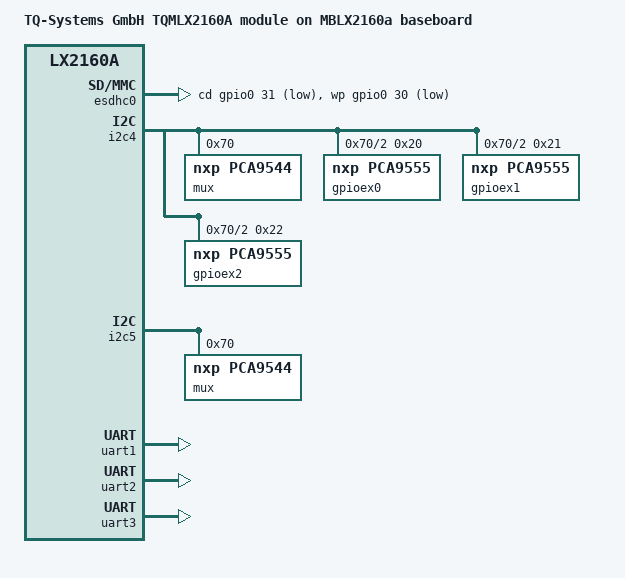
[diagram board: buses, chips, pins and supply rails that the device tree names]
// SPDX-License-Identifier: GPL-2.0-or-later OR MIT
/*
 * TQ MBLX2160A device tree source
 *
 * Copyright (c) 2020-2023 TQ-Systems GmbH <u-boot@ew.tq-group.com>,
 * D-82229 Seefeld, Germany.
 * Author: Gregor Herburger
 */

/dts-v1/;

#include <dt-bindings/gpio/gpio.h>

#include "fsl-lx2160a-tqmlx2160a.dtsi"

/ {
	model = "TQ-Systems GmbH TQMLX2160A module on MBLX2160a baseboard";
	compatible = "tq,mblx2160a", "tq,tqmlx2160a", "fsl,lx2160a";
};

&esdhc0 {
	wp-gpios = <&gpio0 30 GPIO_ACTIVE_LOW>;
	cd-gpios = <&gpio0 31 GPIO_ACTIVE_LOW>;
	status = "okay";
};

&i2c4 {
	status = "okay";

	mux@70 {
		compatible = "nxp,pca9544";
		reg = <0x70>;
		#address-cells = <1>;
		#size-cells = <0>;

		i2c@0 {
			#address-cells = <1>;
			#size-cells = <0>;
			reg = <0>;
		};

		i2c@1 {
			#address-cells = <1>;
			#size-cells = <0>;
			reg = <1>;
		};

		i2c@2 {
			#address-cells = <1>;
			#size-cells = <0>;
			reg = <2>;

			gpioex0: gpio@20 {
				compatible = "nxp,pca9555";
				reg = <0x20>;
				#gpio-cells = <2>;
				gpio-controller;
			};

			gpioex1: gpio@21 {
				compatible = "nxp,pca9555";
				reg = <0x21>;
				#gpio-cells = <2>;
				gpio-controller;
			};

			gpioex2: gpio@22 {
				compatible = "nxp,pca9555";
				reg = <0x22>;
				#gpio-cells = <2>;
				gpio-controller;
			};
		};

		i2c@3 {
			#address-cells = <1>;
			#size-cells = <0>;
			reg = <3>;
		};
	};
};

&i2c5 {
	status = "okay";

	mux@70 {
		compatible = "nxp,pca9544";
		reg = <0x70>;
		#address-cells = <1>;
		#size-cells = <0>;

		i2c@0 {
			#address-cells = <1>;
			#size-cells = <0>;
			reg = <0>;
		};

		i2c@1 {
			#address-cells = <1>;
			#size-cells = <0>;
			reg = <1>;
		};

		i2c@2 {
			#address-cells = <1>;
			#size-cells = <0>;
			reg = <2>;
		};

		i2c@3 {
			#address-cells = <1>;
			#size-cells = <0>;
			reg = <3>;
		};
	};
};

&uart1 {
	status = "okay";
	clock = <175000000>; /* clock is 1/4 of platform */
};

&uart2 {
	status = "okay";
	clock = <175000000>; /* clock is 1/4 of platform */
};

&uart3 {
	status = "okay";
	clock = <175000000>;
};
